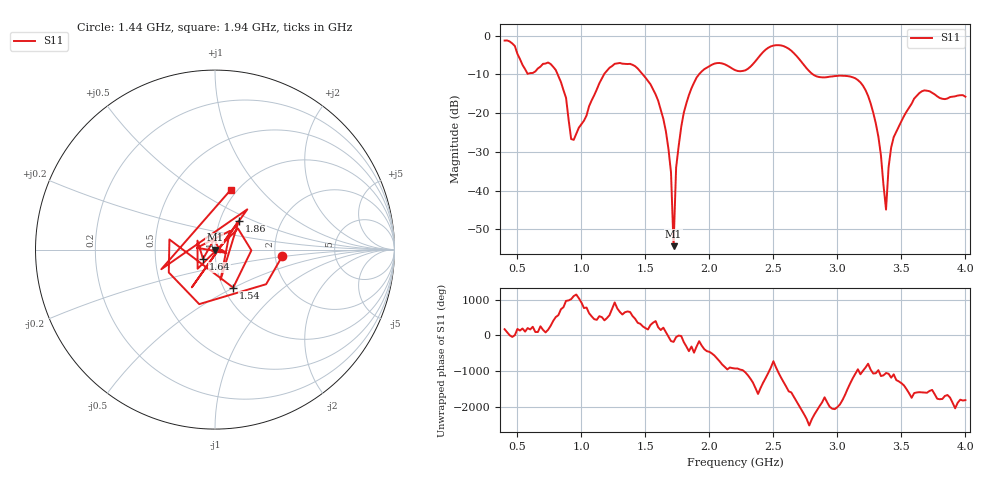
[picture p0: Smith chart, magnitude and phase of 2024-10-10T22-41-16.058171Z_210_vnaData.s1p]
! Created with skrf (http://scikit-rf.org).
# Hz S RI R 50.0
!freq ReS11 ImS11
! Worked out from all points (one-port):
!   181 points, 400 MHz to 4 GHz, reference 50 ohm
!   lowest |S11| = -54.4 dB at 1.72 GHz (marker M1), VSWR 1.00, Z = 49.8 - j0.000724 ohm
!   |S11| at or under -10 dB: 814 MHz to 1.177 GHz (362.9 MHz wide, 36.5 % of centre); 1.48 GHz to 1.919 GHz (438.7 MHz wide, 25.8 % of centre); 2.809 GHz to end of sweep
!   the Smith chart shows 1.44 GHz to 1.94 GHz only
!   S11 on the Smith chart (normalised r, x): 1.44 GHz: 2.18, -0.19; 1.54 GHz: 1.11, -0.50; 1.64 GHz: 0.87, -0.09; 1.86 GHz: 1.23, +0.42; 1.94 GHz: 0.93, +0.71
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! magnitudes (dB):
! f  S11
! 400 MHz  -1.3
! 580 MHz  -9.9
! 760 MHz  -7.3
! 860 MHz  -14.1
! 940 MHz  -26.9
! 1.18 GHz  -9.8
! 1.3 GHz  -7.1
! 1.44 GHz  -8.5
! 1.54 GHz  -12.6
! 1.64 GHz  -21.5
! 1.7 GHz  -35.3
! 1.72 GHz  -54.4
! 1.74 GHz  -34.1
! 1.76 GHz  -28.5
! 1.86 GHz  -13.6
! 1.94 GHz  -9.2
! 2.2 GHz  -8.9
! 2.5 GHz  -2.6
! 2.66 GHz  -4.5
! 2.84 GHz  -10.6
! 3.1 GHz  -10.6
! 3.28 GHz  -19.9
! 3.34 GHz  -30.9
! 3.38 GHz  -44.9
! 3.42 GHz  -28.9
! 3.56 GHz  -18.6
! 3.68 GHz  -14.1
! 4 GHz  -15.8
